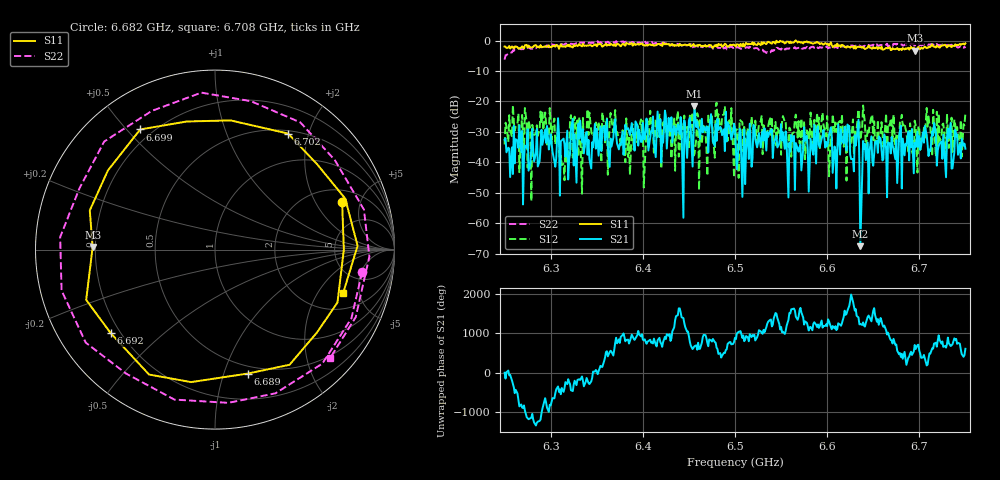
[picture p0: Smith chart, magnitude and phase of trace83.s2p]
# Hz S RI R 50
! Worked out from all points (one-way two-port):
!   401 points, 6.25 GHz to 6.75 GHz, reference 50 ohm
!   highest |S21| = -21.59 dB at 6.456 GHz (marker M1); lowest = -67.6 dB at 6.636 GHz (marker M2)
!   lowest |S11| = -3.3 dB at 6.695 GHz (marker M3), VSWR 5.29, Z = 9.46 + j0.519 ohm
!   |S11| at or under -10 dB: nowhere
!   |S22| runs from -6.2 to -0.1 dB; largest |S21 - S12| = 0.12
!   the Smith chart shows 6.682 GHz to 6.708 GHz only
!   S11 on the Smith chart (normalised r, x): 6.682 GHz: 2.72, +3.41; 6.689 GHz: 0.43, -1.20; 6.692 GHz: 0.16, -0.34; 6.699 GHz: 0.15, +0.55; 6.702 GHz: 0.54, +1.68; 6.708 GHz: 3.09, -3.45
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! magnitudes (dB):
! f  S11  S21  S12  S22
! 6.25 GHz  -1.9  -32.6  -34.1  -6.2
! 6.278 GHz  -2.2  -40.2  -29.0  -2.7
! 6.291 GHz  -2.1  -34.2  -23.3  -1.7
! 6.312 GHz  -1.9  -32.8  -40.9  -1.1
! 6.324 GHz  -2.2  -25.7  -38.5  -1.1
! 6.334 GHz  -1.9  -33.4  -50.3  -0.6
! 6.418 GHz  -1.1  -31.7  -24.3  -1.0
! 6.456 GHz  -1.7  -21.6  -37.3  -2.0
! 6.481 GHz  -1.8  -25.7  -26.0  -2.2
! 6.5 GHz  -1.7  -28.9  -31.0  -2.0
! 6.584 GHz  -0.9  -36.1  -33.2  -2.0
! 6.621 GHz  -2.2  -36.2  -46.0  -2.0
! 6.636 GHz  -2.1  -67.6  -32.6  -1.9
! 6.668 GHz  -2.1  -33.8  -27.9  -1.6
! 6.682 GHz  -2.4  -32.2  -28.0  -1.6
! 6.689 GHz  -2.9  -39.4  -35.9  -1.3
! 6.692 GHz  -2.6  -29.0  -36.4  -1.1
! 6.695 GHz  -3.3  -33.5  -26.3  -1.6
! 6.699 GHz  -2.1  -34.9  -28.1  -1.1
! 6.702 GHz  -2.3  -34.6  -32.2  -1.6
! 6.708 GHz  -2.5  -31.0  -22.1  -1.1
! 6.75 GHz  -0.9  -35.5  -23.8  -2.4
